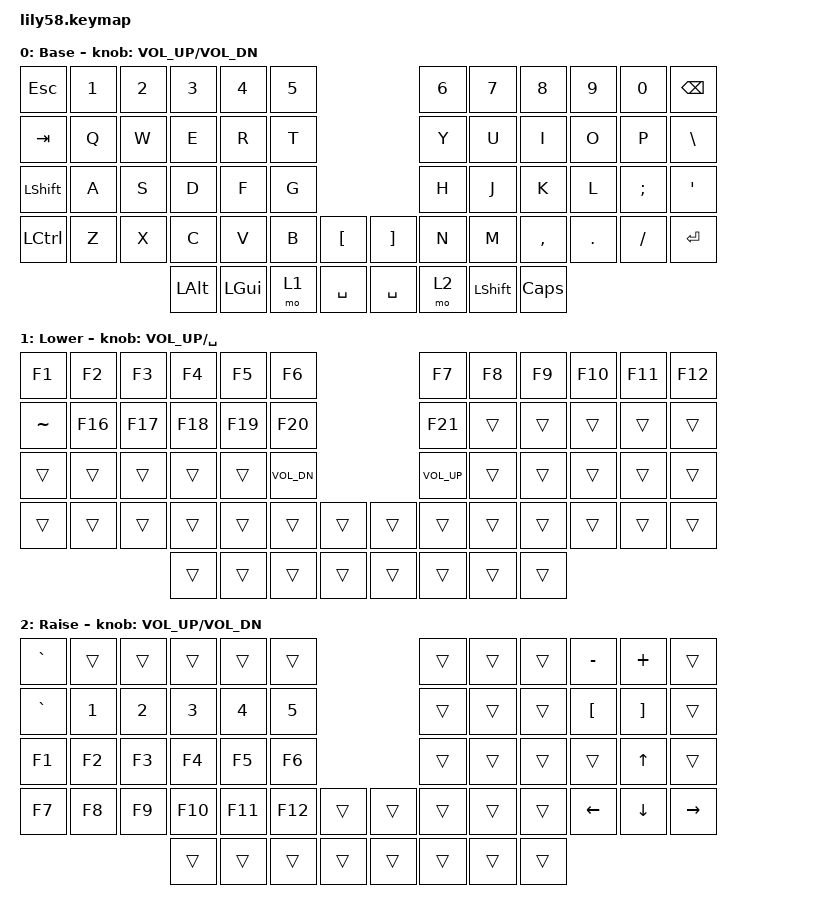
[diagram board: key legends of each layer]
/*
 * Copyright (c) 2020 The ZMK Contributors
 *
 * SPDX-License-Identifier: MIT
 */

#include <behaviors.dtsi>
#include <dt-bindings/zmk/keys.h>

/ {
    keymap {
        compatible = "zmk,keymap";

        default_layer {
            // ------------------------------------------------------------------------------------------------------------
            // |  ESC  |  1  |  2  |  3   |  4   |  5   |                   |  6   |  7    |  8    |  9   |   0   |   `   |
            // |  TAB  |  Q  |  W  |  E   |  R   |  T   |                   |  Y   |  U    |  I    |  O   |   P   |   -   |
            // |  CTRL |  A  |  S  |  D   |  F   |  G   |                   |  H   |  J    |  K    |  L   |   ;   |   '   |
            // | SHIFT |  Z  |  X  |  C   |  V   |  B   |   "["  |  |  "]"  |  N   |  M    |  ,    |  .   |   /   | SHIFT |
            //                     | ALT  | GUI  | LOWER|  SPACE |  | ENTER | RAISE| BSPC  | GUI   |

            display-name = "Base";
            bindings = <
&kp ESC           &kp N1  &kp N2  &kp N3    &kp N4    &kp N5                          &kp N6  &kp N7          &kp N8     &kp N9   &kp N0    &kp BACKSPACE
&kp TAB           &kp Q   &kp W   &kp E     &kp R     &kp T                           &kp Y   &kp U           &kp I      &kp O    &kp P     &kp BACKSLASH
&kp LEFT_SHIFT    &kp A   &kp S   &kp D     &kp F     &kp G                           &kp H   &kp J           &kp K      &kp L    &kp SEMI  &kp SQT
&kp LEFT_CONTROL  &kp Z   &kp X   &kp C     &kp V     &kp B   &kp LBKT     &kp RBKT   &kp N   &kp M           &kp COMMA  &kp DOT  &kp FSLH  &kp ENTER
                                  &kp LALT  &kp LGUI  &mo 1   &kp SPACE    &kp SPACE  &mo 2   &kp LEFT_SHIFT  &kp CAPS
            >;

            sensor-bindings = <&inc_dec_kp C_VOL_UP C_VOL_DN>;
        };

        lower_layer {
            // ------------------------------------------------------------------------------------------------------------
            // | BTCLR | BT1 | BT2 |  BT3 |  BT4 |  BT5 |                   |      |       |       |      |       |       |
            // |  F1   |  F2 |  F3 |  F4  |  F5  |  F6  |                   |  F7  |  F8   |  F9   |  F10 |  F11  |  F12  |
            // |   `   |  !  |  @  |  #   |  $   |  %   |                   |  ^   |  &    |  *    |  (   |   )   |   ~   |
            // |       |     |     |      |      |      |        |  |       |      |  _    |  +    |  {   |   }   |  "|"  |
            //                     |      |      |      |        |  |       |      |       |       |

            display-name = "Lower";
            bindings = <
&kp F1     &kp F2   &kp F3   &kp F4   &kp F5   &kp F6                          &kp F7           &kp F8  &kp F9  &kp F10  &kp F11  &kp F12
&kp TILDE  &kp F16  &kp F17  &kp F18  &kp F19  &kp F20                         &kp F21          &trans  &trans  &trans   &trans   &trans
&trans     &trans   &trans   &trans   &trans   &kp C_VOL_DN                    &kp C_VOLUME_UP  &trans  &trans  &trans   &trans   &trans
&trans     &trans   &trans   &trans   &trans   &trans        &trans    &trans  &trans           &trans  &trans  &trans   &trans   &trans
                             &trans   &trans   &trans        &trans    &trans  &trans           &trans  &trans
            >;

            sensor-bindings = <&inc_dec_kp C_VOL_UP SPACE>;
        };

        raise_layer {
            // ------------------------------------------------------------------------------------------------------------
            // |       |     |     |      |      |      |                   |      |       |       |      |       |       |
            // |   `   |  1  |  2  |  3   |  4   |  5   |                   |  6   |   7   |   8   |  9   |   0   |       |
            // |   F1  |  F2 |  F3 |  F4  |  F5  |  F6  |                   |      |   <-  |   v   |  ^   |  ->   |       |
            // |   F7  |  F8 |  F9 |  F10 |  F11 |  F12 |        |  |       |  +   |   -   |   =   |  [   |   ]   |   \   |
            //                     |      |      |      |        |  |       |      |       |       |

            display-name = "Raise";
            bindings = <
&kp GRAVE  &trans  &trans  &trans   &trans   &trans                     &trans  &trans  &trans  &kp MINUS         &kp PLUS           &trans
&kp GRAVE  &kp N1  &kp N2  &kp N3   &kp N4   &kp N5                     &trans  &trans  &trans  &kp LEFT_BRACKET  &kp RIGHT_BRACKET  &trans
&kp F1     &kp F2  &kp F3  &kp F4   &kp F5   &kp F6                     &trans  &trans  &trans  &trans            &kp UP_ARROW       &trans
&kp F7     &kp F8  &kp F9  &kp F10  &kp F11  &kp F12  &trans    &trans  &trans  &trans  &trans  &kp LEFT          &kp DOWN           &kp RIGHT
                           &trans   &trans   &trans   &trans    &trans  &trans  &trans  &trans
            >;

            sensor-bindings = <&inc_dec_kp C_VOL_UP C_VOL_DN>;
        };

        extra_1 { status = "reserved"; };

        extra_2 { status = "reserved"; };

        extra_3 { status = "reserved"; };
    };
};
